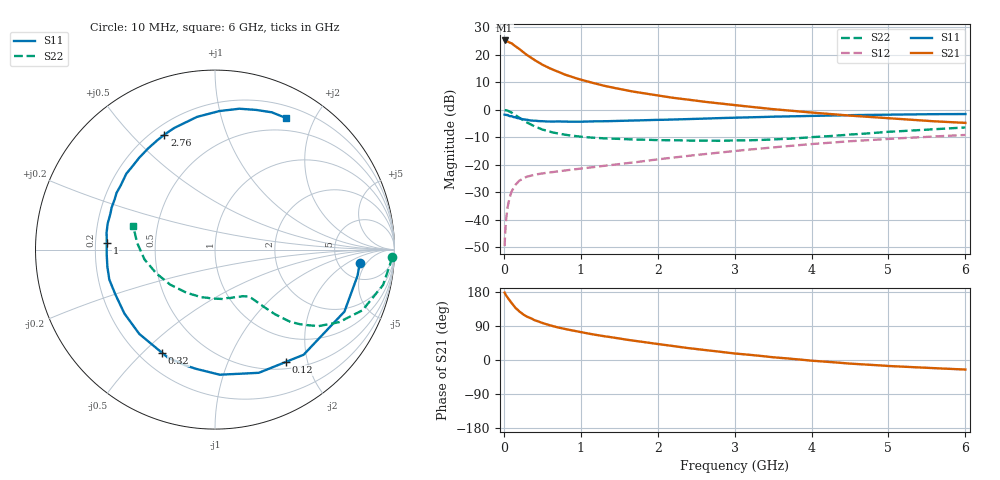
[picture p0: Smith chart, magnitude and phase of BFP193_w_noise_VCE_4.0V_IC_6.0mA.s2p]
! Infineon Technologies  Discrete & RF Semiconductors
! BFP193
! VCE = 4.0 V,  IC =  6.0 mA
! Common Emitter S-Parameters:  Jan 2016
# GHz  S  MA  R  50
!  f  S11  S21  S12  S22
! GHz  MAG  ANG  MAG  ANG  MAG  ANG  MAG  ANG
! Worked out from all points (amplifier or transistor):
!   210 points, 10 MHz to 6 GHz, reference 50 ohm
!   highest |S21| = 25.2 dB at 10 MHz (marker M1)
!   |S21| within 3 dB of that: start of sweep to 195.8 MHz
!   unconditionally stable (mu >= 1): 1.22 GHz to 3.495 GHz
!   at 185 MHz: K = 0.23, MSG = 24.3 dB, |S12| = -26.3 dB
!   at 1.52 GHz: K = 1.08, MAG = 11.8 dB, |S12| = -19.7 dB
!   at 6 GHz: K = 0.90, MSG = 2.2 dB, |S12| = -9.2 dB
!   lowest NFmin = 1.20 dB at 450 MHz
!   S11 on the Smith chart (normalised r, x): 10 MHz: 8.00, -3.48; 120 MHz: 0.60, -1.65; 320 MHz: 0.29, -0.57; 1 GHz: 0.25, +0.03; 2.76 GHz: 0.25, +0.62; 6 GHz: 0.34, +1.62
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0.01  0.8101 -5.3  18.12 177.7  0.0033 89.2  0.9854 -2.4
0.02  0.8074 -10.4  17.6 173.2  0.0067 85.4  0.979 -4.8
0.05  0.7996 -25.6  17.3 164.2  0.0171 77.2  0.9569 -11.9
0.1  0.7661 -49.9  16.1 150.2  0.0323 66.5  0.8882 -22.4
0.12  0.7397 -57.8  15.28 145.6  0.0364 61.9  0.8509 -25.4
0.15  0.7286 -70.4  14.25 137.8  0.0429 56.8  0.7998 -30.4
0.2  0.6976 -87.8  12.71 128.4  0.051 50.7  0.7183 -36.4
0.26  0.6655 -104.4  10.89 119.3  0.057 44.9  0.6296 -41.3
0.32  0.6461 -117.2  9.471 112.8  0.0615 41.5  0.5668 -44.3
0.4  0.6315 -131.9  7.985 105.1  0.0658 38.2  0.4952 -47.0
0.5  0.6177 -144.8  6.586 97.5  0.0693 35.9  0.4359 -49.0
0.6  0.6088 -155.7  5.626 91.3  0.0725 35.3  0.3964 -50.3
0.8  0.6072 -170.9  4.313 81.6  0.0787 35.8  0.3491 -52.4
1  0.6038 176.7  3.512 73.4  0.0846 36.9  0.3233 -54.6
1.02  0.6049 175.5  3.452 72.7  0.0852 37.1  0.3213 -54.9
1.4  0.6216 157.9  2.539 59.9  0.0981 40.2  0.2985 -61.4
2.02  0.6524 135.6  1.788 41.7  0.1259 42.8  0.2788 -75.4
2.76  0.6994 113.8  1.32 22.9  0.1639 41.6  0.272 -97.7
3.1  0.7194 106.1  1.17 15.5  0.1831 39.8  0.2763 -109.5
4.1  0.7759 86.6  0.864 -3.2  0.2427 32.1  0.3218 -145.4
5.1  0.8136 72.4  0.684 -16.7  0.2995 21.5  0.4025 -174.8
6  0.8326 61.8  0.575 -25.2  0.3468 11.2  0.4753 163.7
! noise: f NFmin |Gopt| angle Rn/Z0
0.45  1.2  0.25  114  0.13
0.9  1.25  0.37  150  0.12
1.8  2  0.55  -158  0.12
